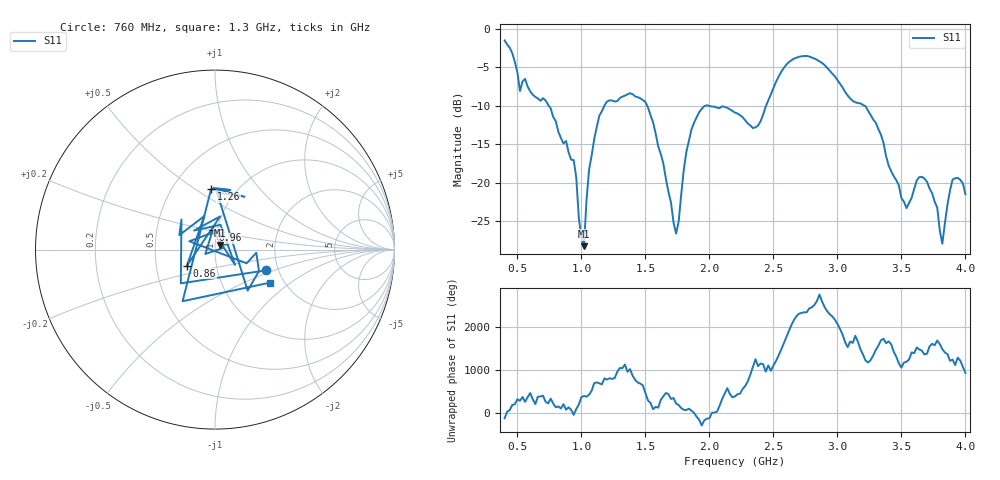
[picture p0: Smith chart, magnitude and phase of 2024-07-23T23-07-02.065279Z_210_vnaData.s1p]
!Created with skrf (http://scikit-rf.org).
# Hz S RI R 50.0
!freq ReS11 ImS11
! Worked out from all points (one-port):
!   181 points, 400 MHz to 4 GHz, reference 50 ohm
!   lowest |S11| = -28.2 dB at 1.02 GHz (marker M1), VSWR 1.08, Z = 52.9 + j2.72 ohm
!   |S11| at or under -10 dB: 1.514 GHz to 1.967 GHz (452.2 MHz wide, 26 % of centre); 1.998 GHz to 2.442 GHz (443.7 MHz wide, 20 % of centre); 3.214 GHz to end of sweep (the widest 3 of 4)
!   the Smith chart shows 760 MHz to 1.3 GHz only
!   S11 on the Smith chart (normalised r, x): 760 MHz: 1.71, -0.44; 860 MHz: 0.72, -0.13; 960 MHz: 0.95, +0.21; 1.26 GHz: 0.77, +0.58; 1.3 GHz: 1.68, -0.71
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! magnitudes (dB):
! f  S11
! 400 MHz  -1.5
! 520 MHz  -8.1
! 760 MHz  -10.3
! 860 MHz  -14.9
! 960 MHz  -19.3
! 980 MHz  -24.6
! 1.02 GHz  -28.2
! 1.06 GHz  -18.2
! 1.12 GHz  -12.7
! 1.26 GHz  -9.4
! 1.3 GHz  -9.0
! 1.5 GHz  -9.5
! 1.74 GHz  -26.6
! 1.76 GHz  -25.0
! 1.82 GHz  -16.0
! 1.92 GHz  -10.8
! 2.2 GHz  -10.9
! 2.38 GHz  -12.6
! 2.66 GHz  -3.9
! 2.88 GHz  -4.4
! 3.1 GHz  -9.0
! 3.3 GHz  -12.2
! 3.56 GHz  -22.6
! 3.68 GHz  -19.4
! 3.78 GHz  -23.2
! 3.82 GHz  -27.9
! 3.9 GHz  -19.6
! 4 GHz  -21.4
